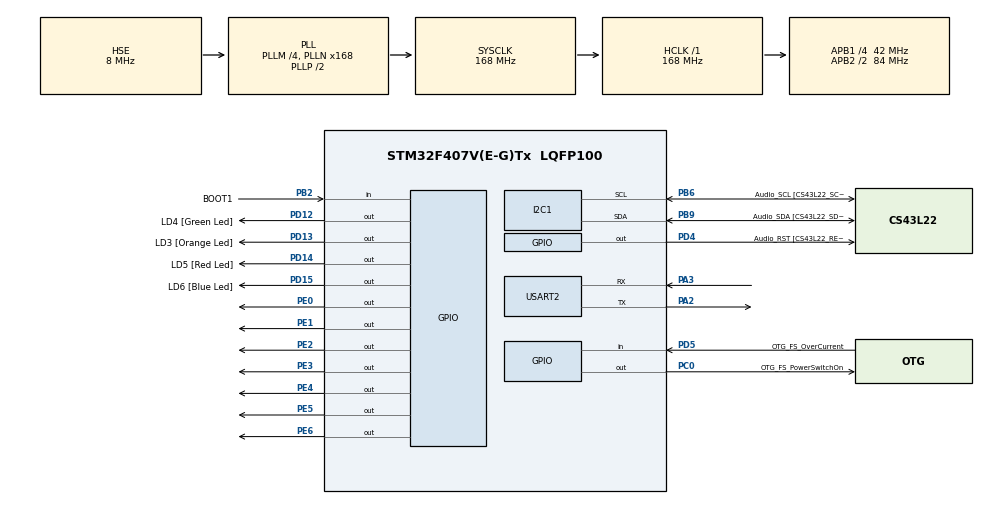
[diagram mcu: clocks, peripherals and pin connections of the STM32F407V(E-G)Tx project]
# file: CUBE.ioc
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Mcu.Family=STM32F4
Mcu.Name=STM32F407V(E-G)Tx
Mcu.Package=LQFP100
NVIC.PriorityGroup=NVIC_PRIORITYGROUP_0
NVIC.TIM2_IRQn=true\:0\:0\:false\:false\:true
NVIC.USART2_IRQn=true\:0\:0\:false\:false\:true
PA10.GPIO_Label=OTG_FS_ID
PA10.GPIO_Mode=GPIO_MODE_AF_PP
PA10.GPIO_PuPd=GPIO_NOPULL
PA10.GPIO_Speed=GPIO_SPEED_FREQ_LOW
PA10.Signal=USB_OTG_FS_ID
PA11.GPIO_Label=OTG_FS_DM
PA11.GPIO_Mode=GPIO_MODE_AF_PP
PA11.GPIO_PuPd=GPIO_NOPULL
PA11.GPIO_Speed=GPIO_SPEED_FREQ_LOW
PA11.Signal=USB_OTG_FS_DM
PA12.GPIO_Label=OTG_FS_DP
PA12.GPIO_Mode=GPIO_MODE_AF_PP
PA12.GPIO_PuPd=GPIO_NOPULL
PA12.GPIO_Speed=GPIO_SPEED_FREQ_LOW
PA12.Signal=USB_OTG_FS_DP
PA13.GPIO_Label=SWDIO
PA13.Signal=SYS_JTMS-SWDIO
PA14.GPIO_Label=SWCLK
PA14.Signal=SYS_JTCK-SWCLK
PA2.Mode=Asynchronous
PA2.Signal=USART2_TX
PA3.Mode=Asynchronous
PA3.Signal=USART2_RX
PA4.GPIO_Label=I2S3_WS [CS43L22_LRCK]
PA4.GPIO_Mode=GPIO_MODE_AF_PP
PA4.GPIO_PuPd=GPIO_NOPULL
PA4.GPIO_Speed=GPIO_SPEED_FREQ_LOW
PA4.Signal=I2S3_WS
PA5.GPIO_Label=SPI1_SCK [LIS302DL_SCL/SPC]
PA5.GPIO_Mode=GPIO_MODE_AF_PP
PA5.GPIO_PuPd=GPIO_NOPULL
PA5.GPIO_Speed=GPIO_SPEED_FREQ_LOW
PA5.Signal=SPI1_SCK
PA6.GPIO_Label=SPI1_MISO [LIS302DL_SDO]
PA6.GPIO_Mode=GPIO_MODE_AF_PP
PA6.GPIO_PuPd=GPIO_NOPULL
PA6.GPIO_Speed=GPIO_SPEED_FREQ_LOW
PA6.Signal=SPI1_MISO
PA7.GPIO_Label=SPI1_MOSI [LIS302DL_SDA/SDI/SDO]
PA7.GPIO_Mode=GPIO_MODE_AF_PP
PA7.GPIO_PuPd=GPIO_NOPULL
PA7.GPIO_Speed=GPIO_SPEED_FREQ_LOW
PA7.Signal=SPI1_MOSI
PA9.GPIO_Label=VBUS_FS
PA9.GPIO_Mode=GPIO_MODE_INPUT
PA9.GPIO_PuPd=GPIO_NOPULL
PA9.Signal=USB_OTG_FS_VBUS
PB10.GPIO_Label=CLK_IN [MP45DT02_CLK]
PB10.GPIO_Mode=GPIO_MODE_AF_PP
PB10.GPIO_PuPd=GPIO_NOPULL
PB10.GPIO_Speed=GPIO_SPEED_FREQ_LOW
PB10.Signal=I2S2_CK
PB2.GPIO_Label=BOOT1
PB2.GPIO_Mode=GPIO_MODE_INPUT
PB2.GPIO_PuPd=GPIO_NOPULL
PB2.Signal=GPIO_Input
PB3.GPIO_Label=SWO
PB3.Signal=SYS_JTDO-SWO
PB6.GPIO_Label=Audio_SCL [CS43L22_SCL]
PB6.GPIO_Mode=GPIO_MODE_AF_OD
PB6.GPIO_PuPd=GPIO_NOPULL
PB6.GPIO_Speed=GPIO_SPEED_FREQ_LOW
PB6.Mode=I2C
PB6.Signal=I2C1_SCL
PB9.GPIO_Label=Audio_SDA [CS43L22_SDA]
PB9.GPIO_Mode=GPIO_MODE_AF_OD
PB9.GPIO_PuPd=GPIO_NOPULL
PB9.GPIO_Speed=GPIO_SPEED_FREQ_LOW
PB9.Mode=I2C
PB9.Signal=I2C1_SDA
PC0.GPIO_Label=OTG_FS_PowerSwitchOn
PC0.GPIO_PuPd=GPIO_NOPULL
PC0.GPIO_Speed=GPIO_SPEED_FREQ_LOW
PC0.PinState=GPIO_PIN_SET
PC0.Signal=GPIO_Output
PC10.GPIO_Label=I2S3_SCK [CS43L22_SCLK]
PC10.GPIO_Mode=GPIO_MODE_AF_PP
PC10.GPIO_PuPd=GPIO_NOPULL
PC10.GPIO_Speed=GPIO_SPEED_FREQ_LOW
PC10.Signal=I2S3_CK
PC12.GPIO_Label=I2S3_SD [CS43L22_SDIN]
PC12.GPIO_Mode=GPIO_MODE_AF_PP
PC12.GPIO_PuPd=GPIO_NOPULL
PC12.GPIO_Speed=GPIO_SPEED_FREQ_LOW
PC12.Signal=I2S3_SD
PC14-OSC32_IN.GPIO_Label=PC14-OSC32_IN
PC14-OSC32_IN.Signal=RCC_OSC32_IN
PC15-OSC32_OUT.GPIO_Label=PC15-OSC32_OUT
PC15-OSC32_OUT.Signal=RCC_OSC32_OUT
PC3.GPIO_Label=PDM_OUT [MP45DT02_DOUT]
PC3.GPIO_Mode=GPIO_MODE_AF_PP
PC3.GPIO_PuPd=GPIO_NOPULL
PC3.GPIO_Speed=GPIO_SPEED_FREQ_LOW
PC3.Signal=I2S2_SD
PC7.GPIO_Label=I2S3_MCK [CS43L22_MCLK]
PC7.GPIO_Mode=GPIO_MODE_AF_PP
PC7.GPIO_PuPd=GPIO_NOPULL
PC7.GPIO_Speed=GPIO_SPEED_FREQ_LOW
PC7.Signal=I2S3_MCK
PD12.GPIO_Label=LD4 [Green Led]
PD12.GPIO_PuPd=GPIO_NOPULL
PD12.GPIO_Speed=GPIO_SPEED_FREQ_LOW
PD12.Signal=GPIO_Output
PD13.GPIO_Label=LD3 [Orange Led]
PD13.GPIO_PuPd=GPIO_NOPULL
PD13.GPIO_Speed=GPIO_SPEED_FREQ_LOW
PD13.Signal=GPIO_Output
PD14.GPIO_Label=LD5 [Red Led]
PD14.GPIO_PuPd=GPIO_NOPULL
PD14.GPIO_Speed=GPIO_SPEED_FREQ_LOW
PD14.Signal=GPIO_Output
PD15.GPIO_Label=LD6 [Blue Led]
PD15.GPIO_PuPd=GPIO_NOPULL
PD15.GPIO_Speed=GPIO_SPEED_FREQ_LOW
PD15.Signal=GPIO_Output
PD4.GPIO_Label=Audio_RST [CS43L22_RESET]
PD4.GPIO_PuPd=GPIO_NOPULL
PD4.GPIO_Speed=GPIO_SPEED_FREQ_LOW
PD4.Signal=GPIO_Output
PD5.GPIO_Label=OTG_FS_OverCurrent
PD5.GPIO_Mode=GPIO_MODE_INPUT
PD5.GPIO_PuPd=GPIO_NOPULL
PD5.Signal=GPIO_Input
PE0.Signal=GPIO_Output
PE1.Signal=GPIO_Output
PE2.Signal=GPIO_Output
PE3.Signal=GPIO_Output
PE4.Signal=GPIO_Output
PE5.Signal=GPIO_Output
PE6.Signal=GPIO_Output
PH0-OSC_IN.GPIO_Label=PH0-OSC_IN
PH0-OSC_IN.Mode=HSE-External-Oscillator
PH0-OSC_IN.Signal=RCC_OSC_IN
PH1-OSC_OUT.GPIO_Label=PH1-OSC_OUT
PH1-OSC_OUT.Mode=HSE-External-Oscillator
PH1-OSC_OUT.Signal=RCC_OSC_OUT
ProjectManager.HeapSize=0x200
ProjectManager.StackSize=0x400
ProjectManager.TargetToolchain=MDK-ARM V5
RCC.48MHZClocksFreq_Value=48000000
RCC.AHBFreq_Value=168000000
RCC.APB1CLKDivider=RCC_HCLK_DIV4
RCC.APB1Freq_Value=42000000
RCC.APB1TimFreq_Value=84000000
RCC.APB2CLKDivider=RCC_HCLK_DIV2
RCC.APB2Freq_Value=84000000
RCC.APB2TimFreq_Value=168000000
RCC.CortexFreq_Value=168000000
RCC.HCLKFreq_Value=168000000
RCC.HSE_VALUE=8000000
RCC.HSI_VALUE=16000000
RCC.LSE_VALUE=32768
RCC.PLLM=4
RCC.PLLN=168
RCC.PLLQ=7
RCC.PLLSourceVirtual=RCC_PLLSOURCE_HSE
RCC.SYSCLKFreq_VALUE=168000000
RCC.SYSCLKSource=RCC_SYSCLKSOURCE_PLLCLK
RCC.VCOOutputFreq_Value=336000000
TIM2.Period=200
TIM2.Prescaler=8399
USART2.VirtualMode=VM_ASYNC
VP_TIM2_VS_ClockSourceINT.Mode=Internal
board=STM32F4DISCOVERY

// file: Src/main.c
/**
  ******************************************************************************
  * File Name          : main.c
  * Description        : Main program body
  ******************************************************************************
  ** This notice applies to any and all portions of this file
  * that are not between comment pairs USER CODE BEGIN and
  * USER CODE END. Other portions of this file, whether
  * inserted by the user or by software development tools
  * are owned by their respective copyright owners.
  *
  * COPYRIGHT(c) 2018 STMicroelectronics
  *
  * Redistribution and use in source and binary forms, with or without modification,
  * are permitted provided that the following conditions are met:
  *   1. Redistributions of source code must retain the above copyright notice,
  *      this list of conditions and the following disclaimer.
  *   2. Redistributions in binary form must reproduce the above copyright notice,
  *      this list of conditions and the following disclaimer in the documentation
  *      and/or other materials provided with the distribution.
  *   3. Neither the name of STMicroelectronics nor the names of its contributors
  *      may be used to endorse or promote products derived from this software
  *      without specific prior written permission.
  *
  * THIS SOFTWARE IS PROVIDED BY THE COPYRIGHT HOLDERS AND CONTRIBUTORS "AS IS"
  * AND ANY EXPRESS OR IMPLIED WARRANTIES, INCLUDING, BUT NOT LIMITED TO, THE
  * IMPLIED WARRANTIES OF MERCHANTABILITY AND FITNESS FOR A PARTICULAR PURPOSE ARE
  * DISCLAIMED. IN NO EVENT SHALL THE COPYRIGHT HOLDER OR CONTRIBUTORS BE LIABLE
  * FOR ANY DIRECT, INDIRECT, INCIDENTAL, SPECIAL, EXEMPLARY, OR CONSEQUENTIAL
  * DAMAGES (INCLUDING, BUT NOT LIMITED TO, PROCUREMENT OF SUBSTITUTE GOODS OR
  * SERVICES; LOSS OF USE, DATA, OR PROFITS; OR BUSINESS INTERRUPTION) HOWEVER
  * CAUSED AND ON ANY THEORY OF LIABILITY, WHETHER IN CONTRACT, STRICT LIABILITY,
  * OR TORT (INCLUDING NEGLIGENCE OR OTHERWISE) ARISING IN ANY WAY OUT OF THE USE
  * OF THIS SOFTWARE, EVEN IF ADVISED OF THE POSSIBILITY OF SUCH DAMAGE.
  *
  ******************************************************************************
  */
#include "main.h"
#include "stm32f4xx_hal.h"
#include <math.h>

I2C_HandleTypeDef hi2c1;

TIM_HandleTypeDef htim2;

UART_HandleTypeDef huart2;

/* USER CODE BEGIN PV */
/* Private variables ---------------------------------------------------------*/
//
uint8_t STATUS=1; // devaice not found
//Registers MPU6050
uint16_t addres_devise_MPU6050=0x68;
uint16_t WHO_AM_I_MPU6050=0x68;
uint16_t WHO_AM_I_ADDRES_MPU6050=0x75;
int16_t ACCEL_X=0;
int16_t ACCEL_Y=0;
int16_t ACCEL_Z=0;
// Variabble for angles ACCEL MPU6050
int ACCEL_XANGLE=0;
int ACCEL_YANGLE=0;
int ACCEL_ZANGLE=0;
// Variabble for temperature measure
uint16_t TEMP_OUT_H=0x41;
uint16_t TEMP_OUT_L=0x42;
int16_t TEMPERATURE=0;
// variables for giroscope
int16_t GIRO_X=0;
int16_t GIRO_Y=0;
int16_t GIRO_Z=0;
// variables for HMC5883L
uint16_t addres_devise_HMC5883L=0x1E;
uint16_t WHO_AM_I_HMC5883L_A=0x10;
uint16_t WHO_AM_I_HMC5883L_B=0x11;
uint16_t WHO_AM_I_HMC5883L_C=0x12;
uint16_t identification_register_A=0x48;
uint16_t identification_register_B=0x34;
uint16_t identification_register_C=0x33;
uint8_t Continuous_Measurement_Moden=0x01;
uint8_t Mode_Register=0x02;
uint16_t Data_Output_X_MSB_Register=0x03;
int16_t MAG_X=0;
int16_t MAG_Y=0;
int16_t MAG_Z=0;
// variable for MS5611
uint16_t addres_devise_MS5611=0x77;

void I2C_scaner(void);
void init_MPU6050(void);
void init_MS5611(void);
void read_data_from_HMC5883L(void);
void read_data_from_MPU6050(void);
void read_temp_from_MPU6050(void);

/* USER CODE END PV */

void SystemClock_Config(void);
static void MX_GPIO_Init(void);
static void MX_I2C1_Init(void);
static void MX_USART2_UART_Init(void);
static void MX_TIM2_Init(void);

/* USER CODE BEGIN PFP */
/* Private function prototypes -----------------------------------------------*/

/* USER CODE END PFP */

int main(void)
{

  /* MCU Configuration----------------------------------------------------------*/

  /* Reset of all peripherals, Initializes the Flash interface and the Systick. */
  HAL_Init();

  /* Configure the system clock */
  SystemClock_Config();

  /* Initialize all configured peripherals */
  MX_GPIO_Init();
  MX_I2C1_Init();
  MX_USART2_UART_Init();
  MX_TIM2_Init();

  /* USER CODE BEGIN 2 */
  I2C_scaner();
	init_MPU6050();

	HAL_TIM_Base_Start(&htim2);    		 //Start Timer1
	HAL_TIM_Base_Start_IT(&htim2);

	//init_HMC5883L();

  /* USER CODE END 2 */
  float i=0;
  /* Infinite loop */
  while (1)
  {

  /* USER CODE BEGIN 3 */

			HAL_Delay(200);

			char str3[100]={0};
		  uint8_t size=0;

			//Convert accelerometr data in angle
			// FORMULA ||| X_ANHLE=
			ACCEL_XANGLE = 57.295*atan((float)-ACCEL_X/ sqrt(pow((float)ACCEL_Y,2)+pow((float)ACCEL_Z,2)));
			ACCEL_YANGLE = 57.295*atan((float)-ACCEL_Y/ sqrt(pow((float)ACCEL_X,2)+pow((float)ACCEL_Z,2)));
			ACCEL_ZANGLE = 57.295*atan((float)-ACCEL_Z/ sqrt(pow((float)ACCEL_X,2)+pow((float)ACCEL_Y,2)));
			// print data in comport
			HAL_TIM_Base_Stop_IT(&htim2);    // Stop interrupt
			sprintf(str3,"ACCELERATION: X:%d, Y%d,Z %d \n\r",ACCEL_XANGLE,ACCEL_YANGLE,ACCEL_ZANGLE);      // convert   in  str
			size=sizeof(str3);
			HAL_UART_Transmit(&huart2 , (uint8_t *)str3, size, 0xFF);
			HAL_TIM_Base_Start_IT(&htim2);    // Start interrupt
		  //

			//Convert giroscope data in angle/sec
			double GIRO_X_X=(double)GIRO_X/131.0;
			double GIRO_Y_Y=(double)GIRO_Y/131.0;
			double GIRO_Z_Z=(double)GIRO_Z/131.0;
			//data->x_gyro = (float)gyroX * GYRO_SCALE - base_x_gyro;
			#define GYRO_SCALE 1.0f/65.5f
			GIRO_X_X=(float)GIRO_X*GYRO_SCALE;
			GIRO_Y_Y=(float)GIRO_Y*GYRO_SCALE;
			GIRO_Z_Z=(float)GIRO_Z*GYRO_SCALE;
			// print data in comport
			char str5[100]={0};
			HAL_TIM_Base_Stop_IT(&htim2);    // Stop interrupt
			sprintf(str5,"GIROSCOPE: X:%d, Y:%d, Z:%d \n\r",(int)GIRO_X_X, (int)GIRO_Y_Y, (int)GIRO_Z_Z);     // convert   in  str
			size=sizeof(str5);
			HAL_UART_Transmit(&huart2 , (uint8_t *)str5, size, 0xFF);
			HAL_TIM_Base_Start_IT(&htim2);    // Start interrupt
		  //

			// MAGNETOMETR
			char str6[100]={0};
			HAL_TIM_Base_Stop_IT(&htim2);    // Stop interrupt
			sprintf(str5,"MAGNETOMETR: X:%d, Y:%d, Z:%d \n\r",(int)MAG_X, (int)MAG_Y, (int)MAG_Z);     // convert   in  str
			size=sizeof(str5);
			HAL_UART_Transmit(&huart2 , (uint8_t *)str5, size, 0xFF);
			HAL_TIM_Base_Start_IT(&htim2);    // Start interrupt

			// TEMPERATURE from MPU6050
			char str7[100]={0};
			HAL_TIM_Base_Stop_IT(&htim2);    // Stop interrupt
			sprintf(str5,"TEMPERATURE MPU6050 %d \n\r", TEMPERATURE);     // convert   in  str
			size=sizeof(str5);
			HAL_UART_Transmit(&huart2 , (uint8_t *)str5, size, 0xFF);
			HAL_TIM_Base_Start_IT(&htim2);    // Start interrupt

  }
  /* USER CODE END 3 */

}

/** System Clock Configuration
*/
void SystemClock_Config(void)
{

  RCC_OscInitTypeDef RCC_OscInitStruct;
  RCC_ClkInitTypeDef RCC_ClkInitStruct;

    /**Configure the main internal regulator output voltage
    */
  __HAL_RCC_PWR_CLK_ENABLE();

  __HAL_PWR_VOLTAGESCALING_CONFIG(PWR_REGULATOR_VOLTAGE_SCALE1);

    /**Initializes the CPU, AHB and APB busses clocks
    */
  RCC_OscInitStruct.OscillatorType = RCC_OSCILLATORTYPE_HSE;
  RCC_OscInitStruct.HSEState = RCC_HSE_ON;
  RCC_OscInitStruct.PLL.PLLState = RCC_PLL_ON;
  RCC_OscInitStruct.PLL.PLLSource = RCC_PLLSOURCE_HSE;
  RCC_OscInitStruct.PLL.PLLM = 4;
  RCC_OscInitStruct.PLL.PLLN = 168;
  RCC_OscInitStruct.PLL.PLLP = RCC_PLLP_DIV2;
  RCC_OscInitStruct.PLL.PLLQ = 7;
  if (HAL_RCC_OscConfig(&RCC_OscInitStruct) != HAL_OK)
  {
    _Error_Handler(__FILE__, __LINE__);
  }

    /**Initializes the CPU, AHB and APB busses clocks
    */
  RCC_ClkInitStruct.ClockType = RCC_CLOCKTYPE_HCLK|RCC_CLOCKTYPE_SYSCLK
                              |RCC_CLOCKTYPE_PCLK1|RCC_CLOCKTYPE_PCLK2;
  RCC_ClkInitStruct.SYSCLKSource = RCC_SYSCLKSOURCE_PLLCLK;
  RCC_ClkInitStruct.AHBCLKDivider = RCC_SYSCLK_DIV1;
  RCC_ClkInitStruct.APB1CLKDivider = RCC_HCLK_DIV4;
  RCC_ClkInitStruct.APB2CLKDivider = RCC_HCLK_DIV2;

  if (HAL_RCC_ClockConfig(&RCC_ClkInitStruct, FLASH_LATENCY_5) != HAL_OK)
  {
    _Error_Handler(__FILE__, __LINE__);
  }

    /**Configure the Systick interrupt time
    */
  HAL_SYSTICK_Config(HAL_RCC_GetHCLKFreq()/1000);

    /**Configure the Systick
    */
  HAL_SYSTICK_CLKSourceConfig(SYSTICK_CLKSOURCE_HCLK);

  /* SysTick_IRQn interrupt configuration */
  HAL_NVIC_SetPriority(SysTick_IRQn, 0, 0);
}

/* I2C1 init function */
static void MX_I2C1_Init(void)
{

  hi2c1.Instance = I2C1;
  hi2c1.Init.ClockSpeed = 100000;
  hi2c1.Init.DutyCycle = I2C_DUTYCYCLE_2;
  hi2c1.Init.OwnAddress1 = 0;
  hi2c1.Init.AddressingMode = I2C_ADDRESSINGMODE_7BIT;
  hi2c1.Init.DualAddressMode = I2C_DUALADDRESS_DISABLE;
  hi2c1.Init.OwnAddress2 = 0;
  hi2c1.Init.GeneralCallMode = I2C_GENERALCALL_DISABLE;
  hi2c1.Init.NoStretchMode = I2C_NOSTRETCH_DISABLE;
  if (HAL_I2C_Init(&hi2c1) != HAL_OK)
  {
    _Error_Handler(__FILE__, __LINE__);
  }

}

/* TIM2 init function */
static void MX_TIM2_Init(void)
{

  TIM_ClockConfigTypeDef sClockSourceConfig;
  TIM_MasterConfigTypeDef sMasterConfig;

  htim2.Instance = TIM2;
  htim2.Init.Prescaler = 8399;
  htim2.Init.CounterMode = TIM_COUNTERMODE_UP;
  htim2.Init.Period = 200;
  htim2.Init.ClockDivision = TIM_CLOCKDIVISION_DIV1;
  if (HAL_TIM_Base_Init(&htim2) != HAL_OK)
  {
    _Error_Handler(__FILE__, __LINE__);
  }

  sClockSourceConfig.ClockSource = TIM_CLOCKSOURCE_INTERNAL;
  if (HAL_TIM_ConfigClockSource(&htim2, &sClockSourceConfig) != HAL_OK)
  {
    _Error_Handler(__FILE__, __LINE__);
  }

  sMasterConfig.MasterOutputTrigger = TIM_TRGO_RESET;
  sMasterConfig.MasterSlaveMode = TIM_MASTERSLAVEMODE_DISABLE;
  if (HAL_TIMEx_MasterConfigSynchronization(&htim2, &sMasterConfig) != HAL_OK)
  {
    _Error_Handler(__FILE__, __LINE__);
  }

}

/* USART2 init function */
static void MX_USART2_UART_Init(void)
{

  huart2.Instance = USART2;
  huart2.Init.BaudRate = 115200;
  huart2.Init.WordLength = UART_WORDLENGTH_8B;
  huart2.Init.StopBits = UART_STOPBITS_1;
  huart2.Init.Parity = UART_PARITY_NONE;
  huart2.Init.Mode = UART_MODE_TX_RX;
  huart2.Init.HwFlowCtl = UART_HWCONTROL_NONE;
  huart2.Init.OverSampling = UART_OVERSAMPLING_16;
  if (HAL_UART_Init(&huart2) != HAL_OK)
  {
    _Error_Handler(__FILE__, __LINE__);
  }

}

/** Configure pins as
        * Analog
        * Input
        * Output
        * EVENT_OUT
        * EXTI
     PC3   ------> I2S2_SD
     PA4   ------> I2S3_WS
     PA5   ------> SPI1_SCK
     PA6   ------> SPI1_MISO
     PA7   ------> SPI1_MOSI
     PB10   ------> I2S2_CK
     PC7   ------> I2S3_MCK
     PA9   ------> USB_OTG_FS_VBUS
     PA10   ------> USB_OTG_FS_ID
     PA11   ------> USB_OTG_FS_DM
     PA12   ------> USB_OTG_FS_DP
     PC10   ------> I2S3_CK
     PC12   ------> I2S3_SD
*/
static void MX_GPIO_Init(void)
{

  GPIO_InitTypeDef GPIO_InitStruct;

  /* GPIO Ports Clock Enable */
  __HAL_RCC_GPIOE_CLK_ENABLE();
  __HAL_RCC_GPIOC_CLK_ENABLE();
  __HAL_RCC_GPIOH_CLK_ENABLE();
  __HAL_RCC_GPIOA_CLK_ENABLE();
  __HAL_RCC_GPIOB_CLK_ENABLE();
  __HAL_RCC_GPIOD_CLK_ENABLE();

  /*Configure GPIO pin Output Level */
  HAL_GPIO_WritePin(GPIOE, GPIO_PIN_2|GPIO_PIN_3|GPIO_PIN_4|GPIO_PIN_5
                          |GPIO_PIN_6|GPIO_PIN_0|GPIO_PIN_1, GPIO_PIN_RESET);

  /*Configure GPIO pin Output Level */
  HAL_GPIO_WritePin(OTG_FS_PowerSwitchOn_GPIO_Port, OTG_FS_PowerSwitchOn_Pin, GPIO_PIN_SET);

  /*Configure GPIO pin Output Level */
  HAL_GPIO_WritePin(GPIOD, LD4_Pin|LD3_Pin|LD5_Pin|LD6_Pin
                          |Audio_RST_Pin, GPIO_PIN_RESET);

  /*Configure GPIO pins : PE2 PE3 PE4 PE5
                           PE6 PE0 PE1 */
  GPIO_InitStruct.Pin = GPIO_PIN_2|GPIO_PIN_3|GPIO_PIN_4|GPIO_PIN_5
                          |GPIO_PIN_6|GPIO_PIN_0|GPIO_PIN_1;
  GPIO_InitStruct.Mode = GPIO_MODE_OUTPUT_PP;
  GPIO_InitStruct.Pull = GPIO_NOPULL;
  GPIO_InitStruct.Speed = GPIO_SPEED_FREQ_LOW;
  HAL_GPIO_Init(GPIOE, &GPIO_InitStruct);

  /*Configure GPIO pin : OTG_FS_PowerSwitchOn_Pin */
  GPIO_InitStruct.Pin = OTG_FS_PowerSwitchOn_Pin;
  GPIO_InitStruct.Mode = GPIO_MODE_OUTPUT_PP;
  GPIO_InitStruct.Pull = GPIO_NOPULL;
  GPIO_InitStruct.Speed = GPIO_SPEED_FREQ_LOW;
  HAL_GPIO_Init(OTG_FS_PowerSwitchOn_GPIO_Port, &GPIO_InitStruct);

  /*Configure GPIO pin : PDM_OUT_Pin */
  GPIO_InitStruct.Pin = PDM_OUT_Pin;
  GPIO_InitStruct.Mode = GPIO_MODE_AF_PP;
  GPIO_InitStruct.Pull = GPIO_NOPULL;
  GPIO_InitStruct.Speed = GPIO_SPEED_FREQ_LOW;
  GPIO_InitStruct.Alternate = GPIO_AF5_SPI2;
  HAL_GPIO_Init(PDM_OUT_GPIO_Port, &GPIO_InitStruct);

  /*Configure GPIO pin : I2S3_WS_Pin */
  GPIO_InitStruct.Pin = I2S3_WS_Pin;
  GPIO_InitStruct.Mode = GPIO_MODE_AF_PP;
  GPIO_InitStruct.Pull = GPIO_NOPULL;
  GPIO_InitStruct.Speed = GPIO_SPEED_FREQ_LOW;
  GPIO_InitStruct.Alternate = GPIO_AF6_SPI3;
  HAL_GPIO_Init(I2S3_WS_GPIO_Port, &GPIO_InitStruct);

  /*Configure GPIO pins : SPI1_SCK_Pin SPI1_MISO_Pin SPI1_MOSI_Pin */
  GPIO_InitStruct.Pin = SPI1_SCK_Pin|SPI1_MISO_Pin|SPI1_MOSI_Pin;
  GPIO_InitStruct.Mode = GPIO_MODE_AF_PP;
  GPIO_InitStruct.Pull = GPIO_NOPULL;
  GPIO_InitStruct.Speed = GPIO_SPEED_FREQ_LOW;
  GPIO_InitStruct.Alternate = GPIO_AF5_SPI1;
  HAL_GPIO_Init(GPIOA, &GPIO_InitStruct);

  /*Configure GPIO pin : BOOT1_Pin */
  GPIO_InitStruct.Pin = BOOT1_Pin;
  GPIO_InitStruct.Mode = GPIO_MODE_INPUT;
  GPIO_InitStruct.Pull = GPIO_NOPULL;
  HAL_GPIO_Init(BOOT1_GPIO_Port, &GPIO_InitStruct);

  /*Configure GPIO pin : CLK_IN_Pin */
  GPIO_InitStruct.Pin = CLK_IN_Pin;
  GPIO_InitStruct.Mode = GPIO_MODE_AF_PP;
  GPIO_InitStruct.Pull = GPIO_NOPULL;
  GPIO_InitStruct.Speed = GPIO_SPEED_FREQ_LOW;
  GPIO_InitStruct.Alternate = GPIO_AF5_SPI2;
  HAL_GPIO_Init(CLK_IN_GPIO_Port, &GPIO_InitStruct);

  /*Configure GPIO pins : LD4_Pin LD3_Pin LD5_Pin LD6_Pin
                           Audio_RST_Pin */
  GPIO_InitStruct.Pin = LD4_Pin|LD3_Pin|LD5_Pin|LD6_Pin
                          |Audio_RST_Pin;
  GPIO_InitStruct.Mode = GPIO_MODE_OUTPUT_PP;
  GPIO_InitStruct.Pull = GPIO_NOPULL;
  GPIO_InitStruct.Speed = GPIO_SPEED_FREQ_LOW;
  HAL_GPIO_Init(GPIOD, &GPIO_InitStruct);

  /*Configure GPIO pins : I2S3_MCK_Pin I2S3_SCK_Pin I2S3_SD_Pin */
  GPIO_InitStruct.Pin = I2S3_MCK_Pin|I2S3_SCK_Pin|I2S3_SD_Pin;
  GPIO_InitStruct.Mode = GPIO_MODE_AF_PP;
  GPIO_InitStruct.Pull = GPIO_NOPULL;
  GPIO_InitStruct.Speed = GPIO_SPEED_FREQ_LOW;
  GPIO_InitStruct.Alternate = GPIO_AF6_SPI3;
  HAL_GPIO_Init(GPIOC, &GPIO_InitStruct);

  /*Configure GPIO pin : VBUS_FS_Pin */
  GPIO_InitStruct.Pin = VBUS_FS_Pin;
  GPIO_InitStruct.Mode = GPIO_MODE_INPUT;
  GPIO_InitStruct.Pull = GPIO_NOPULL;
  HAL_GPIO_Init(VBUS_FS_GPIO_Port, &GPIO_InitStruct);

  /*Configure GPIO pins : OTG_FS_ID_Pin OTG_FS_DM_Pin OTG_FS_DP_Pin */
  GPIO_InitStruct.Pin = OTG_FS_ID_Pin|OTG_FS_DM_Pin|OTG_FS_DP_Pin;
  GPIO_InitStruct.Mode = GPIO_MODE_AF_PP;
  GPIO_InitStruct.Pull = GPIO_NOPULL;
  GPIO_InitStruct.Speed = GPIO_SPEED_FREQ_LOW;
  GPIO_InitStruct.Alternate = GPIO_AF10_OTG_FS;
  HAL_GPIO_Init(GPIOA, &GPIO_InitStruct);

  /*Configure GPIO pin : OTG_FS_OverCurrent_Pin */
  GPIO_InitStruct.Pin = OTG_FS_OverCurrent_Pin;
  GPIO_InitStruct.Mode = GPIO_MODE_INPUT;
  GPIO_InitStruct.Pull = GPIO_NOPULL;
  HAL_GPIO_Init(OTG_FS_OverCurrent_GPIO_Port, &GPIO_InitStruct);

}

/* USER CODE BEGIN 4 */

///////////////////////////////////////////////////////////////////////////////////////////////
void I2C_scaner(void)
{
	/*Description function
	This function search devise connected to I2C in this case -hi2c1.
	After thet function print in console information about what to connect to I2C.
	*/
	#define DEVICE_FOUND  0
	uint8_t addres_devise=0x00;;      //ADRESS_MPU6050=0x68; -> return 0  ,   DRESS_MS5611=0x77;-> return 0
	uint8_t addr=0;
	uint16_t sizebuf=1;								// size how many data we receive from devise
	uint8_t buff=0;										// data for receive
	uint32_t timeout=1000;						// timeout for receive
  uint16_t STATUS=0;								// Status connect to device (if STATUS==0 - device if found, if STATUS==1 - device if not found)
	uint8_t number_of_device=0;				// How many device controller is found

	uint8_t size=0;
	char str3[35]={0};
	uint8_t size_mas=sizeof(str3);
	uint8_t i=0;

	sprintf(str3,"SEARCH DEVISES... \r\n");      										// convert   in  str
	size=sizeof(str3);
	HAL_UART_Transmit(&huart2 , (uint8_t *)str3, size, 0xFFFF);
	HAL_Delay(500);
	for(addres_devise=0x00;addres_devise<0x7F;addres_devise++)
	{
			HAL_Delay(10);
			STATUS=HAL_I2C_Mem_Read(&hi2c1, (uint16_t)addres_devise<<1,(uint16_t)addr, (uint16_t) sizebuf, &buff, (uint16_t) sizebuf,(uint32_t) timeout);
			if(STATUS==DEVICE_FOUND)																		// if devsice is found
			{
				  for(i=0;i<size_mas;i++)    															// Delete data in str3[]
					{
						str3[i]=0;
					}
					sprintf(str3,"Device address-0x%x - found \r\n",addres_devise);      // convert   in  str
					size=sizeof(str3);
					HAL_UART_Transmit(&huart2 , (uint8_t *)str3, size, 0xFFFF);
					number_of_device++;
			}
	}
	if(number_of_device==0)  																				// If devices nofound
	{
			for(i=0;i<size_mas;i++)				 															// Delete data in str3[]
			{
				str3[i]=0;
			}
			sprintf(str3,"Devices no found!!!\r\n");      							// convert   in  str
			size=sizeof(str3);
			HAL_UART_Transmit(&huart2 , (uint8_t *)str3, size, 0xFFFF);
	}
	HAL_Delay(500);
	for(i=0;i<size_mas;i++)																					// Delete data in str3[]
	{
		str3[i]=0;
	}
	sprintf(str3,"DONE\r\n");      																	// convert   in  str
	size=sizeof(str3);
	HAL_UART_Transmit(&huart2 , (uint8_t *)str3, size, 0xFFFF);
}

///////////////////////////////////////////////////////////////////////////////////////////////
void init_MPU6050(void)
{
	uint8_t Device_found=0;
	uint8_t STATUS=1;
	uint16_t sizebuf=2;
	uint8_t buff=0x00;
	uint32_t timeout=0xFFF;
	// variables for print data in com port
	uint8_t size=0;
	char str3[35]={0};
	//

	// Who I am for MPU6050. Gyroscope, acceleromert
	STATUS=HAL_I2C_Mem_Read(&hi2c1, (uint16_t)addres_devise_MPU6050<<1,(uint16_t)WHO_AM_I_ADDRES_MPU6050, (uint16_t) 1, &buff, (uint16_t) sizebuf,(uint32_t) timeout);
	if(((buff!=WHO_AM_I_MPU6050)|(STATUS!=Device_found)))
	{
		  sprintf(str3,"ERROR: MPU6050 not detected!\r\n");      // convert   in  str
			size=sizeof(str3);
			HAL_UART_Transmit(&huart2 , (uint8_t *)str3, size, 0xFFFF);
	}
	else
	{
			sprintf(str3,"MPU6050 conected.Status - OK!\r\n");      // convert   in  str
			size=sizeof(str3);
			HAL_UART_Transmit(&huart2 , (uint8_t *)str3, size, 0xFFFF);
		  // Init MPU6050
		  unsigned char buffer[2];					     	// Bufer
			uint16_t sizebuf=2;
			uint8_t addr=0x6B;											// It  is  pointer  on  resistor  in  slave
			uint8_t data=0x00;											// It  data  for  slave														// exit sleep
			HAL_I2C_Mem_Write(&hi2c1, (uint16_t) addres_devise_MPU6050<<1, addr, (uint16_t) 1, &data, (uint16_t) 1, (uint32_t) 1000);
			HAL_Delay(20);
			addr=0x1B;			    										// It  is  pointer  on  resistor  in  slave
			data=0x00;															// It  data  for  slave														// Giro  full  scale = +/- 4g
			HAL_I2C_Mem_Write(&hi2c1, (uint16_t) addres_devise_MPU6050<<1, addr, (uint16_t) 1, &data, (uint16_t) 1, (uint32_t) 1000);
			HAL_Delay(20);
			addr=0x1C;														  // It  is  pointer  on  resistor  in  slave    // Accelerometr
			data=0x00;		// +/-16 G -0x18					// It  data  for  slave  													// accelerometer  full scale = +/- 2g
			HAL_I2C_Mem_Write(&hi2c1, (uint16_t) addres_devise_MPU6050<<1, addr, (uint16_t) 1, &data, (uint16_t) 1, (uint32_t) 1000);
			HAL_Delay(20);

		  // Init MPU6050 for see magnitometr
		  addr=0x6A;														  //
			data=0x00;						//
			HAL_I2C_Mem_Write(&hi2c1, (uint16_t) addres_devise_MPU6050<<1, addr, (uint16_t) 1, &data, (uint16_t) 1, (uint32_t) 1000);

			addr=0x37;														  //
			data=0x02;				//
			HAL_I2C_Mem_Write(&hi2c1, (uint16_t) addres_devise_MPU6050<<1, addr, (uint16_t) 1, &data, (uint16_t) 1, (uint32_t) 1000);

			addr=0x6B;														  //
			data=0x00;						//
			HAL_I2C_Mem_Write(&hi2c1, (uint16_t) addres_devise_MPU6050<<1, addr, (uint16_t) 1, &data, (uint16_t) 1, (uint32_t) 1000);
			//
	}
}

void read_data_from_MPU6050(void)
{
	    uint8_t buff[6]={0};			// Bufer for data acceleration/giroscope
			uint16_t sizebuf=6;
	    uint32_t timeout=0xFF;
			// All reg
	    uint8_t ACCEL_XOUT_H=0x3B;        // Start read data acceleration
			uint8_t GYRO_XOUT_H=0x43;   			// / Start read data giroscope

	    // Read accelerometr data
			STATUS=HAL_I2C_Mem_Read(&hi2c1, (uint16_t)addres_devise_MPU6050<<1,(uint16_t)ACCEL_XOUT_H, (uint16_t) 1, buff, (uint16_t) sizebuf,(uint32_t) timeout);
			if(STATUS==1)
			{
						//ERROR HANDLER: devise not found
			}
			else
			{
						ACCEL_X=(uint16_t)buff[0]<<8|buff[1];  //Convert accelerometr data
						ACCEL_Y=(uint16_t)buff[2]<<8|buff[3];
						ACCEL_Z=(uint16_t)buff[4]<<8|buff[5];
			}
			// Read giroscope data
			STATUS=HAL_I2C_Mem_Read(&hi2c1, (uint16_t)addres_devise_MPU6050<<1,(uint16_t)GYRO_XOUT_H, (uint16_t) 1, buff, (uint16_t) sizebuf,(uint32_t) timeout);
			if(STATUS==1)
			{
						//ERROR HANDLER: devise not found
			}
			else
			{
						GIRO_X=(uint16_t)buff[0]<<8|buff[1];   //Convert giroscope data
						GIRO_Y=(uint16_t)buff[2]<<8|buff[3];
						GIRO_Z=(uint16_t)buff[4]<<8|buff[5];
			}
}

void read_data_from_HMC5883L(void)
{
			uint32_t timeout=0xFF;
			uint8_t STATUS=1;
	    // Init magnitometr for enabble Continuous-Measurement Mode
			STATUS=HAL_I2C_Mem_Write(&hi2c1, (uint16_t)addres_devise_HMC5883L<<1, (uint16_t) Mode_Register, (uint16_t) 1, &Continuous_Measurement_Moden, (uint16_t) 1, (uint32_t) 0xFF);
			if(STATUS==1)
			{
						//ERROR HANDLER: devise not found
			}
			else							// Dewise respond OK
			{
						uint16_t sizebuf=6;
						uint8_t buff[6]={0};
						// Read data from magnitometr
						HAL_I2C_Mem_Read(&hi2c1, (uint16_t)addres_devise_HMC5883L<<1,(uint16_t)Data_Output_X_MSB_Register, (uint16_t) 1, buff, (uint16_t) sizebuf,(uint32_t) timeout);
						MAG_X=(int16_t)buff[0]<<8|buff[1];
						MAG_Y=(int16_t)buff[2]<<8|buff[3];
						MAG_Z=(int16_t)buff[4]<<8|buff[5];
			}
}

void read_temp_from_MPU6050(void)
{
			uint32_t timeout=0xFF;
			uint8_t buff[2]={0};
			uint16_t sizebuf=2;

			STATUS=HAL_I2C_Mem_Read(&hi2c1, (uint16_t)addres_devise_MPU6050<<1,(uint16_t)TEMP_OUT_H, (uint16_t) 1, buff, (uint16_t) sizebuf,(uint32_t) timeout);
	    if(STATUS==1)
			{
						//ERROR HANDLER: devise not found
			}
			else
			{
						//convert data in temperature
				    TEMPERATURE=(uint16_t)buff[0]<<8|buff[1];
				    TEMPERATURE=(TEMPERATURE)/340+36.53;
			}
}

void init_MS5611(void)
{
		uint8_t RESET=0x1E;

}

// EROR HENDLER

/* USER CODE END 4 */

void _Error_Handler(char * file, int line)
{
  while(1)
  {
  }
}

/************************ (C) COPYRIGHT STMicroelectronics *****END OF FILE****/
